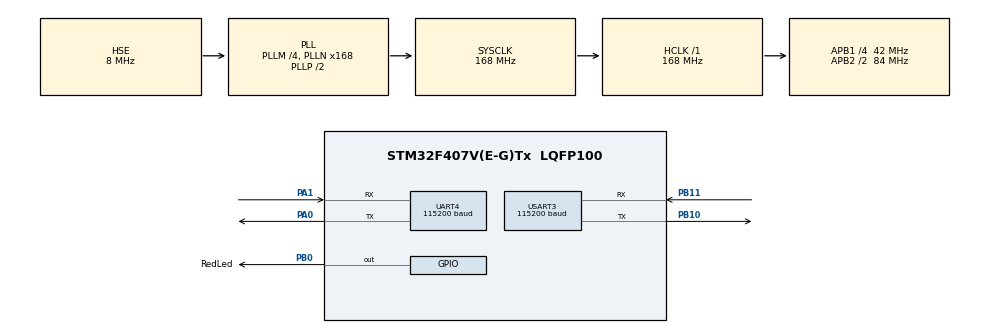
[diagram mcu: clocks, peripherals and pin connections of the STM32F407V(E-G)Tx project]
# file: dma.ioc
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Dma.Request0=USART3_RX
Dma.Request1=USART3_TX
Dma.USART3_RX.0.Direction=DMA_PERIPH_TO_MEMORY
Dma.USART3_RX.0.FIFOMode=DMA_FIFOMODE_DISABLE
Dma.USART3_RX.0.Instance=DMA1_Stream1
Dma.USART3_RX.0.MemDataAlignment=DMA_MDATAALIGN_BYTE
Dma.USART3_RX.0.MemInc=DMA_MINC_ENABLE
Dma.USART3_RX.0.Mode=DMA_NORMAL
Dma.USART3_RX.0.PeriphDataAlignment=DMA_PDATAALIGN_BYTE
Dma.USART3_RX.0.PeriphInc=DMA_PINC_DISABLE
Dma.USART3_RX.0.Priority=DMA_PRIORITY_LOW
Dma.USART3_TX.1.Direction=DMA_MEMORY_TO_PERIPH
Dma.USART3_TX.1.FIFOMode=DMA_FIFOMODE_DISABLE
Dma.USART3_TX.1.Instance=DMA1_Stream3
Dma.USART3_TX.1.MemDataAlignment=DMA_MDATAALIGN_BYTE
Dma.USART3_TX.1.MemInc=DMA_MINC_ENABLE
Dma.USART3_TX.1.Mode=DMA_NORMAL
Dma.USART3_TX.1.PeriphDataAlignment=DMA_PDATAALIGN_BYTE
Dma.USART3_TX.1.PeriphInc=DMA_PINC_DISABLE
Dma.USART3_TX.1.Priority=DMA_PRIORITY_LOW
Mcu.Family=STM32F4
Mcu.Name=STM32F407V(E-G)Tx
Mcu.Package=LQFP100
NVIC.DMA1_Stream1_IRQn=true\:0\:0\:false\:false\:true\:false\:true\:true
NVIC.DMA1_Stream3_IRQn=true\:0\:0\:false\:false\:true\:false\:true\:true
NVIC.PriorityGroup=NVIC_PRIORITYGROUP_4
NVIC.TIM6_DAC_IRQn=true\:0\:0\:false\:false\:true\:true\:true\:true
NVIC.USART3_IRQn=true\:0\:0\:false\:false\:true\:true\:true\:true
PA0-WKUP.Mode=Asynchronous
PA0-WKUP.Signal=UART4_TX
PA1.Mode=Asynchronous
PA1.Signal=UART4_RX
PA13.Mode=JTAG_5_pins
PA13.Signal=SYS_JTMS-SWDIO
PA14.Mode=JTAG_5_pins
PA14.Signal=SYS_JTCK-SWCLK
PA15.Mode=JTAG_5_pins
PA15.Signal=SYS_JTDI
PB0.GPIO_Label=RedLed
PB0.Signal=GPIO_Output
PB10.Mode=Asynchronous
PB10.Signal=USART3_TX
PB11.Mode=Asynchronous
PB11.Signal=USART3_RX
PB3.Mode=JTAG_5_pins
PB3.Signal=SYS_JTDO-SWO
PB4.Mode=JTAG_5_pins
PB4.Signal=SYS_JTRST
PH0-OSC_IN.Mode=HSE-External-Oscillator
PH0-OSC_IN.Signal=RCC_OSC_IN
PH1-OSC_OUT.Mode=HSE-External-Oscillator
PH1-OSC_OUT.Signal=RCC_OSC_OUT
ProjectManager.HeapSize=0x200
ProjectManager.StackSize=0x400
ProjectManager.TargetToolchain=MDK-ARM V5.32
RCC.48MHZClocksFreq_Value=84000000
RCC.AHBFreq_Value=168000000
RCC.APB1CLKDivider=RCC_HCLK_DIV4
RCC.APB1Freq_Value=42000000
RCC.APB1TimFreq_Value=84000000
RCC.APB2CLKDivider=RCC_HCLK_DIV2
RCC.APB2Freq_Value=84000000
RCC.APB2TimFreq_Value=168000000
RCC.CortexFreq_Value=168000000
RCC.HCLKFreq_Value=168000000
RCC.HSE_VALUE=8000000
RCC.HSI_VALUE=16000000
RCC.LSE_VALUE=32768
RCC.PLLM=4
RCC.PLLN=168
RCC.PLLSourceVirtual=RCC_PLLSOURCE_HSE
RCC.SYSCLKFreq_VALUE=168000000
RCC.SYSCLKSource=RCC_SYSCLKSOURCE_PLLCLK
RCC.VCOOutputFreq_Value=336000000
TIM6.AutoReloadPreload=TIM_AUTORELOAD_PRELOAD_ENABLE
TIM6.Period=2
TIM6.Prescaler=41999
UART4.BaudRate=115200
UART4.VirtualMode=Asynchronous
USART3.BaudRate=115200
USART3.VirtualMode=VM_ASYNC
VP_TIM6_VS_ClockSourceINT.Mode=Enable_Timer
board=custom

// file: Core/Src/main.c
/* USER CODE BEGIN Header */
/**
  ******************************************************************************
  * @file           : main.c
  * @brief          : Main program body
  ******************************************************************************
  * @attention
  *
  * Copyright (c) 2022 STMicroelectronics.
  * All rights reserved.
  *
  * This software is licensed under terms that can be found in the LICENSE file
  * in the root directory of this software component.
  * If no LICENSE file comes with this software, it is provided AS-IS.
  *
  ******************************************************************************
  */
/* USER CODE END Header */
#include "main.h"

/* USER CODE BEGIN Includes */
#include "string.h"
#include "stdio.h"
/* USER CODE END Includes */

 TIM_HandleTypeDef htim6;

UART_HandleTypeDef huart4;
UART_HandleTypeDef huart3;
DMA_HandleTypeDef hdma_usart3_rx;
DMA_HandleTypeDef hdma_usart3_tx;

void SystemClock_Config(void);
static void MX_GPIO_Init(void);
static void MX_USART3_UART_Init(void);
static void MX_DMA_Init(void);
static void MX_UART4_Init(void);
static void MX_TIM6_Init(void);

/* USER CODE BEGIN 0 */
#define RxBuf_SIZE   15
#define MainBuf_SIZE 50

uint8_t RxBuf[RxBuf_SIZE];
uint8_t MainBuf[MainBuf_SIZE];

uint8_t TxBuf[15];

uint16_t oldPos=0;
uint16_t newPos=0;

int Num1[1]=0;
int Num2[1]=0;

 void HAL_UARTEx_RxEventCallback(UART_HandleTypeDef *huart, uint16_t Size)
{

//oldPos = newPos;  // Update the last position before copying new data

//		/* If the data in large and it is about to exceed the buffer size, we have to route it to the start of the buffer
//		 * This is to maintain the circular buffer
//		 * The old data in the main buffer will be overlapped
//		 */
//		if (oldPos+Size > MainBuf_SIZE)  // If the current position + new data size is greater than the main buffer
//		{
//			uint16_t datatocopy = MainBuf_SIZE-oldPos;  // find out how much space is left in the main buffer
//			memcpy ((uint8_t *)MainBuf+oldPos, RxBuf, datatocopy);  // copy data in that remaining space

//			oldPos = 0;  // point to the start of the buffer
//			memcpy ((uint8_t *)MainBuf, (uint8_t *)RxBuf+datatocopy, (Size-datatocopy));  // copy the remaining data
//			newPos = (Size-datatocopy);  // update the position
//		}

//		/* if the current position + new data size is less than the main buffer
//		 * we will simply copy the data into the buffer and update the position
//		 */
//		else
//		{
//			memcpy ((uint8_t *)MainBuf+oldPos, RxBuf, Size);
//			newPos = Size+oldPos;
//		}

		/* start the DMA again */
		HAL_UARTEx_ReceiveToIdle_DMA(&huart3, (uint8_t *) RxBuf, RxBuf_SIZE);
		__HAL_DMA_DISABLE_IT(&hdma_usart3_rx, DMA_IT_HT);
		sscanf(RxBuf , "%d,%d" , Num1 , Num2 );
		Num2[0] = Num2[0]	+ 1;
		sprintf(TxBuf ,"%d,%d" , Num1[0] , Num2[0] );
    HAL_UART_Transmit_DMA(&huart3 , TxBuf , 15 );

}
//void HAL_UART_TxCpltCallback(UART_HandleTypeDef *huart){
//	HAL_UART_Transmit_DMA(&huart3 , TxBuf , 15 );
//}

/* USER CODE END 0 */

int main(void)
{

  /* MCU Configuration--------------------------------------------------------*/

  /* Reset of all peripherals, Initializes the Flash interface and the Systick. */
  HAL_Init();

  /* Configure the system clock */
  SystemClock_Config();

  /* Initialize all configured peripherals */
  MX_GPIO_Init();
	MX_DMA_Init();
  MX_USART3_UART_Init();
  MX_UART4_Init();
  MX_TIM6_Init();
  /* USER CODE BEGIN 2 */
   HAL_UARTEx_ReceiveToIdle_DMA(&huart3 , RxBuf , RxBuf_SIZE);
	__HAL_DMA_DISABLE_IT(&hdma_usart3_rx , DMA_IT_HT);

  /* USER CODE END 2 */

  /* Infinite loop */
  /* USER CODE BEGIN WHILE */

  while (1)
  {
		HAL_GPIO_TogglePin(RedLed_GPIO_Port , RedLed_Pin);
		HAL_Delay(1000);
    /* USER CODE END WHILE */

  }
}

void SystemClock_Config(void)
{
  RCC_OscInitTypeDef RCC_OscInitStruct = {0};
  RCC_ClkInitTypeDef RCC_ClkInitStruct = {0};

  /** Configure the main internal regulator output voltage
  */
  __HAL_RCC_PWR_CLK_ENABLE();
  __HAL_PWR_VOLTAGESCALING_CONFIG(PWR_REGULATOR_VOLTAGE_SCALE1);

  /** Initializes the RCC Oscillators according to the specified parameters
  * in the RCC_OscInitTypeDef structure.
  */
  RCC_OscInitStruct.OscillatorType = RCC_OSCILLATORTYPE_HSE;
  RCC_OscInitStruct.HSEState = RCC_HSE_ON;
  RCC_OscInitStruct.PLL.PLLState = RCC_PLL_ON;
  RCC_OscInitStruct.PLL.PLLSource = RCC_PLLSOURCE_HSE;
  RCC_OscInitStruct.PLL.PLLM = 4;
  RCC_OscInitStruct.PLL.PLLN = 168;
  RCC_OscInitStruct.PLL.PLLP = RCC_PLLP_DIV2;
  RCC_OscInitStruct.PLL.PLLQ = 4;
  if (HAL_RCC_OscConfig(&RCC_OscInitStruct) != HAL_OK)
  {
    Error_Handler();
  }

  /** Initializes the CPU, AHB and APB buses clocks
  */
  RCC_ClkInitStruct.ClockType = RCC_CLOCKTYPE_HCLK|RCC_CLOCKTYPE_SYSCLK
                              |RCC_CLOCKTYPE_PCLK1|RCC_CLOCKTYPE_PCLK2;
  RCC_ClkInitStruct.SYSCLKSource = RCC_SYSCLKSOURCE_PLLCLK;
  RCC_ClkInitStruct.AHBCLKDivider = RCC_SYSCLK_DIV1;
  RCC_ClkInitStruct.APB1CLKDivider = RCC_HCLK_DIV4;
  RCC_ClkInitStruct.APB2CLKDivider = RCC_HCLK_DIV2;

  if (HAL_RCC_ClockConfig(&RCC_ClkInitStruct, FLASH_LATENCY_5) != HAL_OK)
  {
    Error_Handler();
  }
}

static void MX_TIM6_Init(void)
{

  TIM_MasterConfigTypeDef sMasterConfig = {0};

  htim6.Instance = TIM6;
  htim6.Init.Prescaler = 41999;
  htim6.Init.CounterMode = TIM_COUNTERMODE_UP;
  htim6.Init.Period = 2;
  htim6.Init.AutoReloadPreload = TIM_AUTORELOAD_PRELOAD_ENABLE;
  if (HAL_TIM_Base_Init(&htim6) != HAL_OK)
  {
    Error_Handler();
  }
  sMasterConfig.MasterOutputTrigger = TIM_TRGO_RESET;
  sMasterConfig.MasterSlaveMode = TIM_MASTERSLAVEMODE_DISABLE;
  if (HAL_TIMEx_MasterConfigSynchronization(&htim6, &sMasterConfig) != HAL_OK)
  {
    Error_Handler();
  }

}

static void MX_UART4_Init(void)
{

  huart4.Instance = UART4;
  huart4.Init.BaudRate = 115200;
  huart4.Init.WordLength = UART_WORDLENGTH_8B;
  huart4.Init.StopBits = UART_STOPBITS_1;
  huart4.Init.Parity = UART_PARITY_NONE;
  huart4.Init.Mode = UART_MODE_TX_RX;
  huart4.Init.HwFlowCtl = UART_HWCONTROL_NONE;
  huart4.Init.OverSampling = UART_OVERSAMPLING_16;
  if (HAL_UART_Init(&huart4) != HAL_OK)
  {
    Error_Handler();
  }

}

static void MX_USART3_UART_Init(void)
{

  huart3.Instance = USART3;
  huart3.Init.BaudRate = 460800;
  huart3.Init.WordLength = UART_WORDLENGTH_8B;
  huart3.Init.StopBits = UART_STOPBITS_1;
  huart3.Init.Parity = UART_PARITY_NONE;
  huart3.Init.Mode = UART_MODE_TX_RX;
  huart3.Init.HwFlowCtl = UART_HWCONTROL_NONE;
  huart3.Init.OverSampling = UART_OVERSAMPLING_16;
  if (HAL_UART_Init(&huart3) != HAL_OK)
  {
    Error_Handler();
  }

}

static void MX_DMA_Init(void)
{

  /* DMA controller clock enable */
  __HAL_RCC_DMA1_CLK_ENABLE();

  /* DMA interrupt init */
  /* DMA1_Stream1_IRQn interrupt configuration */
  HAL_NVIC_SetPriority(DMA1_Stream1_IRQn, 0, 0);
  HAL_NVIC_EnableIRQ(DMA1_Stream1_IRQn);
  /* DMA1_Stream3_IRQn interrupt configuration */
  HAL_NVIC_SetPriority(DMA1_Stream3_IRQn, 0, 0);
  HAL_NVIC_EnableIRQ(DMA1_Stream3_IRQn);

}

static void MX_GPIO_Init(void)
{
  GPIO_InitTypeDef GPIO_InitStruct = {0};

  /* GPIO Ports Clock Enable */
  __HAL_RCC_GPIOH_CLK_ENABLE();
  __HAL_RCC_GPIOA_CLK_ENABLE();
  __HAL_RCC_GPIOB_CLK_ENABLE();

  /*Configure GPIO pin Output Level */
  HAL_GPIO_WritePin(RedLed_GPIO_Port, RedLed_Pin, GPIO_PIN_RESET);

  /*Configure GPIO pin : RedLed_Pin */
  GPIO_InitStruct.Pin = RedLed_Pin;
  GPIO_InitStruct.Mode = GPIO_MODE_OUTPUT_PP;
  GPIO_InitStruct.Pull = GPIO_NOPULL;
  GPIO_InitStruct.Speed = GPIO_SPEED_FREQ_LOW;
  HAL_GPIO_Init(RedLed_GPIO_Port, &GPIO_InitStruct);

}

void Error_Handler(void)
{
  __disable_irq();
  while (1)
  {
  }
}
